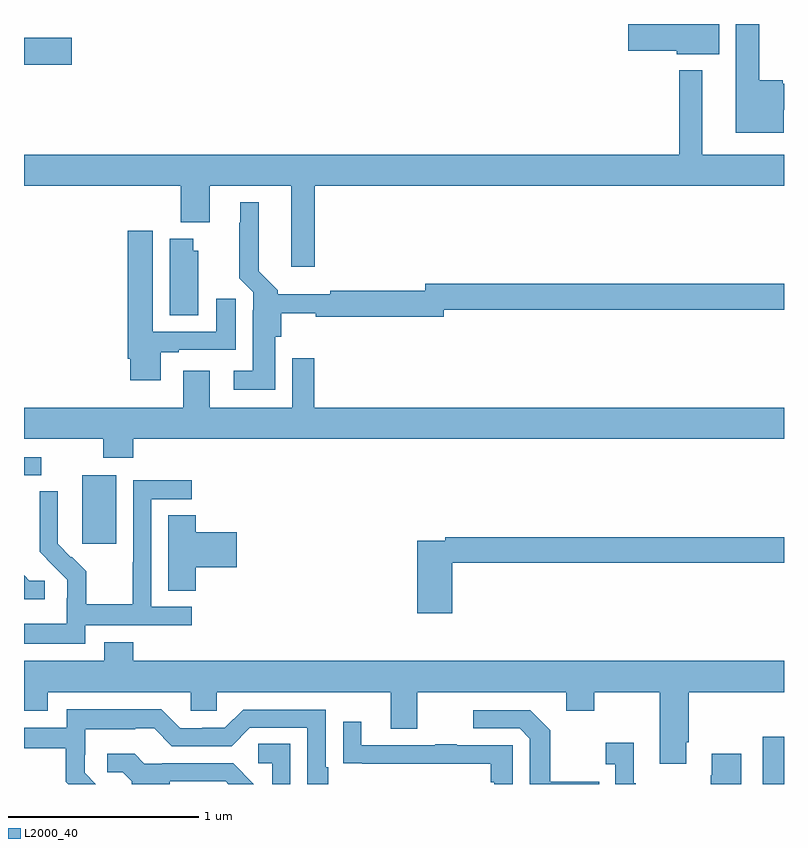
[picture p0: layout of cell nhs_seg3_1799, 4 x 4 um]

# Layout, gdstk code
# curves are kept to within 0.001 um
import gdstk
lib = gdstk.Library(unit=1e-6, precision=1e-09)
def R(c, l, rs):  # rectangles x0, y0, x1, y1
    for r in rs: c.add(gdstk.rectangle(r[:2], r[2:], *l))
def P(c, l, *ps):  # polygons
    for p in ps: c.add(gdstk.Polygon(p, *l))
L2000_40 = (2000, 40)

nhs_seg3_1799 = lib.new_cell('nhs_seg3_1799')
R(nhs_seg3_1799, L2000_40, [(206.888,732.4,207,732.649), (203.306,733.665,203.485,734.026), (203,734.025,203.092,734.121), (203,736.186,203.251,736.328)])
P(nhs_seg3_1799, L2000_40, [(206.659,736.4),(206.18,736.4),(206.18,736.259),(206.436,736.259),(206.436,736.241),(206.659,736.241)],
  [(206.998,735.95),(207,735.95),(207,736.085),(206.994,736.085),(206.994,736.103),(206.869,736.103),(206.869,736.4),(206.747,736.4),(206.747,735.827),(206.998,735.827)],
  [(204.53,735.548),(207,735.548),(207,735.712),(206.569,735.712),(206.569,736.156),(206.448,736.156),(206.448,735.712),(203,735.712),(203,735.548),(203.825,735.548),(203.825,735.356),(203.977,735.356),(203.977,735.548),(204.407,735.548),(204.407,735.123),(204.53,735.123)],
  [(204.322,734.754),(204.353,734.754),(204.353,734.878),(204.536,734.878),(204.536,734.86),(205.209,734.86),(205.209,734.896),(207,734.896),(207,735.032),(205.113,735.032),(205.113,734.996),(204.613,734.996),(204.613,734.977),(204.336,734.977),(204.336,734.998),(204.235,735.1),(204.235,735.463),(204.137,735.463),(204.137,735.353),(204.133,735.353),(204.133,735.062),(204.207,734.988),(204.207,734.894),(204.203,734.894),(204.203,734.575),(204.105,734.575),(204.105,734.474),(204.322,734.474)],
  [(203.719,734.673),(203.815,734.673),(203.815,734.685),(204.115,734.685),(204.115,734.953),(204.011,734.953),(204.011,734.781),(203.677,734.781),(203.677,735.313),(203.546,735.313),(203.546,734.638),(203.558,734.638),(203.558,734.526),(203.719,734.526)],
  [(203.917,735.207),(203.89,735.207),(203.89,735.271),(203.768,735.271),(203.768,734.866),(203.917,734.866)],
  [(203.576,734.216),(207,734.216),(207,734.38),(204.527,734.38),(204.527,734.641),(204.411,734.641),(204.411,734.38),(203.977,734.38),(203.977,734.575),(203.837,734.575),(203.837,734.38),(203,734.38),(203,734.216),(203.416,734.216),(203.416,734.117),(203.576,734.117)],
  [(203.322,733.236),(203.884,733.236),(203.884,733.332),(203.67,733.332),(203.67,733.899),(203.884,733.899),(203.884,733.998),(203.574,733.998),(203.574,733.568),(203.572,733.568),(203.572,733.345),(203.327,733.345),(203.327,733.519),(203.25,733.596),(203.247,733.593),(203.177,733.664),(203.178,733.94),(203.082,733.94),(203.082,733.622),(203.228,733.474),(203.228,733.377),(203.226,733.377),(203.226,733.243),(203,733.243),(203,733.139),(203.322,733.139)],
  [(203.903,733.541),(204.121,733.541),(204.121,733.724),(203.903,733.724),(203.903,733.814),(203.759,733.814),(203.759,733.417),(203.903,733.417)],
  [(205.253,733.564),(207,733.564),(207,733.7),(205.216,733.7),(205.216,733.68),(205.07,733.68),(205.07,733.299),(205.253,733.299)],
  [(203.11,733.47),(203.028,733.47),(203,733.498),(203,733.373),(203.11,733.373)],
  [(206.485,732.619),(206.498,732.619),(206.498,732.884),(207,732.884),(207,733.048),(203.576,733.048),(203.576,733.147),(203.423,733.147),(203.423,733.048),(203,733.048),(203,732.785),(203.125,732.785),(203.125,732.884),(203.877,732.884),(203.877,732.786),(204.015,732.786),(204.015,732.884),(204.929,732.884),(204.929,732.69),(205.069,732.69),(205.069,732.884),(205.853,732.884),(205.853,732.785),(206.001,732.785),(206.001,732.884),(206.345,732.884),(206.345,732.507),(206.485,732.507)],
  [(203.32,732.458),(203.32,732.555),(203.322,732.555),(203.322,732.689),(203.585,732.689),(203.585,732.693),(203.685,732.693),(203.778,732.6),(204.093,732.6),(204.189,732.696),(204.492,732.696),(204.492,732.4),(204.601,732.4),(204.601,732.487),(204.588,732.487),(204.588,732.792),(204.153,732.792),(204.057,732.696),(203.939,732.696),(203.939,732.693),(203.823,732.693),(203.723,732.793),(203.226,732.793),(203.226,732.696),(203,732.696),(203,732.588),(203.221,732.588),(203.221,732.413),(203.234,732.4),(203.378,732.4)],
  [(206.027,732.411),(205.771,732.411),(205.771,732.683),(205.665,732.789),(205.365,732.789),(205.365,732.693),(205.608,732.693),(205.662,732.639),(205.662,732.4),(206.027,732.4)],
  [(205.572,732.603),(205.277,732.603),(205.277,732.608),(205.165,732.608),(205.165,732.603),(204.775,732.603),(204.775,732.727),(204.679,732.727),(204.679,732.508),(204.781,732.508),(204.781,732.507),(205.456,732.507),(205.456,732.41),(205.476,732.41),(205.476,732.4),(205.572,732.4)],
  [(206.221,732.403),(206.209,732.403),(206.209,732.616),(206.061,732.616),(206.061,732.503),(206.112,732.503),(206.112,732.4),(206.221,732.4)],
  [(204.402,732.611),(204.234,732.611),(204.234,732.51),(204.306,732.51),(204.306,732.4),(204.402,732.4)],
  [(206.776,732.559),(206.621,732.559),(206.621,732.446),(206.614,732.446),(206.614,732.4),(206.776,732.4)],
  [(203.767,732.414),(204.062,732.414),(204.076,732.4),(204.21,732.4),(204.1,732.51),(203.728,732.51),(203.728,732.507),(203.634,732.507),(203.582,732.559),(203.439,732.559),(203.439,732.462),(203.52,732.462),(203.567,732.415),(203.567,732.4),(203.767,732.4)])

lib.write_gds('nhs_seg3_1799.gds')
